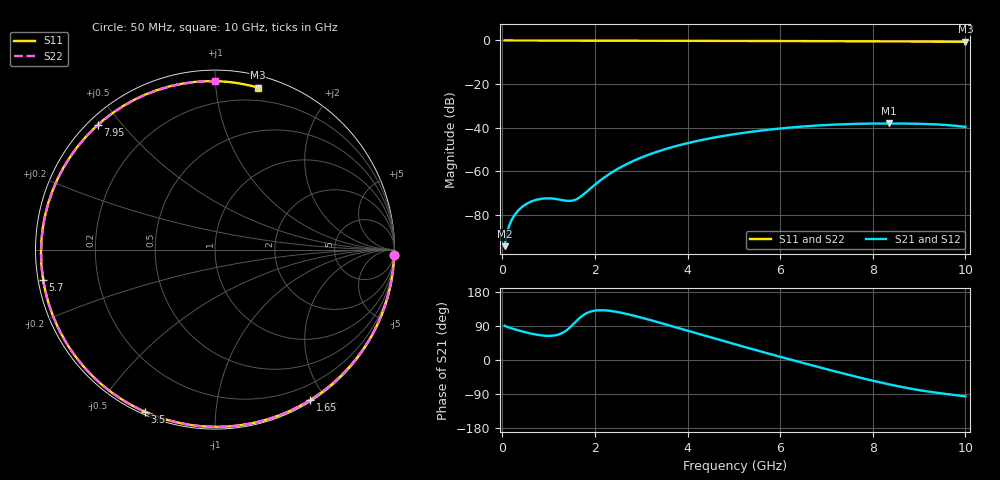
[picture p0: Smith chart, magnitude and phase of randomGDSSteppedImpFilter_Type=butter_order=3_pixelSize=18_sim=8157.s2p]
! freq	dB(S11)	phase(S11)	dB(S12)	phase(S12)
!  dB(S21)	phase(S21)	dB(S22)	phase(S22)
!S-par simulation data
#  GHz  S  DB  R 50
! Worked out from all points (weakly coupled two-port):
!   200 points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, 50 MHz to 10 GHz, reference 50 ohm
!   highest |S21| = -38.10 dB at 8.35 GHz (marker M1); lowest = -94.4 dB at 50 MHz (marker M2)
!   lowest |S11| = -0.6 dB at 10 GHz (marker M3), VSWR 29.11, Z = 4.6 + j64.7 ohm
!   |S11| at or under -10 dB: nowhere
!   |S22| runs from -0.6 to 0.0 dB; largest |S21 - S12| = 0
!   S11 on the Smith chart (normalised r, x): 50 MHz: 1, -65; 1.65 GHz: 0.02, -1.82; 3.5 GHz: 0.01, -0.66; 5.7 GHz: 0.01, -0.09; 7.95 GHz: 0.03, +0.43; 10 GHz: 0.09, +1.29
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0.05  -0.00 -1.8  -94.38 90.6  -94.38 90.6  -0.00 -1.7
0.25  -0.02 -9.0  -80.60 81.7  -80.60 81.7  -0.02 -8.8
0.5  -0.03 -17.9  -75.29 73.3  -75.29 73.3  -0.03 -17.7
0.75  -0.04 -26.8  -73.03 66.7  -73.03 66.7  -0.03 -26.4
1  -0.05 -35.6  -72.44 63.7  -72.44 63.7  -0.04 -35.0
1.45  -0.06 -51.0  -73.62 84.6  -73.62 84.6  -0.06 -50.2
1.65  -0.07 -57.6  -72.28 108.6  -72.28 108.6  -0.07 -56.7
1.75  -0.08 -60.9  -70.71 118.4  -70.71 118.4  -0.07 -59.9
2.15  -0.09 -73.7  -63.67 131.4  -63.67 131.4  -0.09 -72.5
2.5  -0.10 -84.6  -58.83 126.3  -58.83 126.3  -0.10 -83.0
2.9  -0.12 -96.5  -54.63 115.1  -54.63 115.1  -0.11 -94.6
3.4  -0.13 -110.7  -50.66 98.4  -50.66 98.4  -0.13 -108.5
3.5  -0.14 -113.5  -49.99 94.9  -49.99 94.9  -0.13 -111.2
4.3  -0.17 -134.8  -45.69 66.7  -45.69 66.7  -0.17 -131.8
5.05  -0.21 -153.9  -42.87 40.6  -42.87 40.6  -0.20 -149.9
5.7  -0.25 -170.0  -41.06 18.5  -41.06 18.5  -0.24 -165.2
6.7  -0.31 165.2  -39.17 -14.5  -39.17 -14.5  -0.30 171.8
7.3  -0.36 150.1  -38.50 -33.6  -38.50 -33.6  -0.35 157.9
7.95  -0.41 133.2  -38.15 -53.2  -38.15 -53.2  -0.40 142.5
8.35  -0.45 122.5  -38.10 -64.2  -38.10 -64.2  -0.43 132.8
9.2  -0.52 98.7  -38.36 -83.3  -38.36 -83.3  -0.50 111.4
10  -0.60 75.2  -39.64 -95.9  -39.64 -95.9  -0.56 90.2
